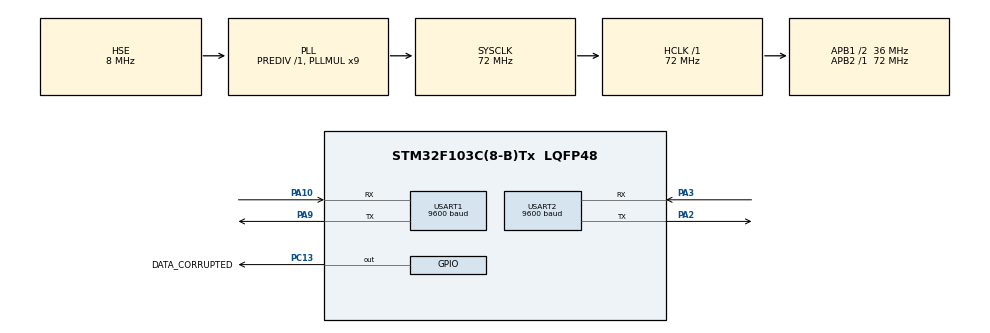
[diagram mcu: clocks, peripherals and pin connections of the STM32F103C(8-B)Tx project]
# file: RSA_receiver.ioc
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Dma.Request0=USART2_RX
Dma.Request1=USART1_RX
Dma.USART1_RX.1.Direction=DMA_PERIPH_TO_MEMORY
Dma.USART1_RX.1.Instance=DMA1_Channel5
Dma.USART1_RX.1.MemDataAlignment=DMA_MDATAALIGN_BYTE
Dma.USART1_RX.1.MemInc=DMA_MINC_ENABLE
Dma.USART1_RX.1.Mode=DMA_NORMAL
Dma.USART1_RX.1.PeriphDataAlignment=DMA_PDATAALIGN_BYTE
Dma.USART1_RX.1.PeriphInc=DMA_PINC_DISABLE
Dma.USART1_RX.1.Priority=DMA_PRIORITY_LOW
Dma.USART2_RX.0.Direction=DMA_PERIPH_TO_MEMORY
Dma.USART2_RX.0.Instance=DMA1_Channel6
Dma.USART2_RX.0.MemDataAlignment=DMA_MDATAALIGN_BYTE
Dma.USART2_RX.0.MemInc=DMA_MINC_ENABLE
Dma.USART2_RX.0.Mode=DMA_NORMAL
Dma.USART2_RX.0.PeriphDataAlignment=DMA_PDATAALIGN_BYTE
Dma.USART2_RX.0.PeriphInc=DMA_PINC_DISABLE
Dma.USART2_RX.0.Priority=DMA_PRIORITY_LOW
Mcu.Family=STM32F1
Mcu.Name=STM32F103C(8-B)Tx
Mcu.Package=LQFP48
NVIC.DMA1_Channel5_IRQn=true\:0\:0\:false\:false\:true\:false\:true\:true
NVIC.DMA1_Channel6_IRQn=true\:0\:0\:false\:true\:true\:1\:false\:true\:true
NVIC.PriorityGroup=NVIC_PRIORITYGROUP_4
NVIC.USART1_IRQn=true\:0\:0\:false\:true\:true\:3\:true\:true\:true
NVIC.USART2_IRQn=true\:0\:0\:false\:true\:true\:2\:true\:true\:true
PA10.Mode=Asynchronous
PA10.Signal=USART1_RX
PA13.Mode=Trace_Asynchronous_SW
PA13.Signal=SYS_JTMS-SWDIO
PA14.Mode=Trace_Asynchronous_SW
PA14.Signal=SYS_JTCK-SWCLK
PA2.Mode=Asynchronous
PA2.Signal=USART2_TX
PA3.GPIO_PuPd=GPIO_PULLUP
PA3.Mode=Asynchronous
PA3.Signal=USART2_RX
PA9.Mode=Asynchronous
PA9.Signal=USART1_TX
PB3.Mode=Trace_Asynchronous_SW
PB3.Signal=SYS_JTDO-TRACESWO
PC13-TAMPER-RTC.GPIO_Label=DATA_CORRUPTED
PC13-TAMPER-RTC.Signal=GPIO_Output
PD0-OSC_IN.Mode=HSE-External-Oscillator
PD0-OSC_IN.Signal=RCC_OSC_IN
PD1-OSC_OUT.Mode=HSE-External-Oscillator
PD1-OSC_OUT.Signal=RCC_OSC_OUT
ProjectManager.HeapSize=0x2000
ProjectManager.StackSize=0x4009
ProjectManager.TargetToolchain=STM32CubeIDE
RCC.AHBFreq_Value=72000000
RCC.APB1CLKDivider=RCC_HCLK_DIV2
RCC.APB1Freq_Value=36000000
RCC.APB1TimFreq_Value=72000000
RCC.APB2Freq_Value=72000000
RCC.APB2TimFreq_Value=72000000
RCC.HCLKFreq_Value=72000000
RCC.PLLMUL=RCC_PLL_MUL9
RCC.PLLSourceVirtual=RCC_PLLSOURCE_HSE
RCC.SYSCLKFreq_VALUE=72000000
RCC.SYSCLKSource=RCC_SYSCLKSOURCE_PLLCLK
RCC.USBFreq_Value=72000000
USART1.BaudRate=9600
USART1.VirtualMode=VM_ASYNC
USART2.BaudRate=9600
USART2.VirtualMode=VM_ASYNC
board=custom

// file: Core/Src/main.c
/* USER CODE BEGIN Header */
/**
  ******************************************************************************
  * @file           : main.c
  * @brief          : Main program body
  ******************************************************************************
  * @attention
  *
  * Copyright (c) 2023 STMicroelectronics.
  * All rights reserved.
  *
  * This software is licensed under terms that can be found in the LICENSE file
  * in the root directory of this software component.
  * If no LICENSE file comes with this software, it is provided AS-IS.
  *
  ******************************************************************************
  */
/* USER CODE END Header */
#include "main.h"

/* USER CODE BEGIN Includes */
#include <stdlib.h>
#include <stdio.h>
#include <string.h>
#include <stdbool.h>
#include "rsa.h"
/* USER CODE END Includes */

/* USER CODE BEGIN PD */
#define GIVE_PUBLIC_KEY_CMD			"Give public key"
#define PUBLIC_KEY_MESSAGE_HEADER	"Public key:"
/* USER CODE END PD */

UART_HandleTypeDef huart1;
UART_HandleTypeDef huart2;
DMA_HandleTypeDef hdma_usart1_rx;
DMA_HandleTypeDef hdma_usart2_rx;

/* USER CODE BEGIN PV */
static rsa_structure rsa_ctx;
static rsa_public_key rsa_second_board_public_key;
static uint8_t receive_buffer[512];
static volatile bool new_encrypted_message;
static volatile uint32_t last_encrypted_message_length;
static volatile bool public_key_obtained;
/* USER CODE END PV */

void SystemClock_Config(void);
static void MX_GPIO_Init(void);
static void MX_DMA_Init(void);
static void MX_USART2_UART_Init(void);
static void MX_USART1_UART_Init(void);
static void MX_NVIC_Init(void);
/* USER CODE BEGIN PFP */
static void decrypt_message(char *buff);
/* USER CODE END PFP */

int main(void)
{

  /* MCU Configuration--------------------------------------------------------*/

  /* Reset of all peripherals, Initializes the Flash interface and the Systick. */
  HAL_Init();

  /* USER CODE BEGIN Init */
  rsa_init(59, 67, &rsa_ctx);
  /* USER CODE END Init */

  /* Configure the system clock */
  SystemClock_Config();

  /* Initialize all configured peripherals */
  MX_GPIO_Init();
  MX_DMA_Init();
  MX_USART2_UART_Init();
  MX_USART1_UART_Init();

  /* Initialize interrupts */
  MX_NVIC_Init();
  /* USER CODE BEGIN 2 */
  HAL_UARTEx_ReceiveToIdle_DMA(&huart2, receive_buffer, sizeof(receive_buffer) / sizeof(receive_buffer[0]));
  HAL_UART_Transmit_IT(&huart1, (uint8_t*)"Reciver connected\n", strlen("Reciver connected\n"));
  /* USER CODE END 2 */

  /* Infinite loop */
  /* USER CODE BEGIN WHILE */
  char message_rx[128];
  while (1)
  {
    /* USER CODE END WHILE */

    /* USER CODE BEGIN 3 */
	  if (new_encrypted_message) {
		  decrypt_message(message_rx);
		  new_encrypted_message = false;
		  HAL_UART_Transmit_IT(&huart1, (uint8_t*)message_rx, strlen(message_rx) + 1);
		  HAL_UARTEx_ReceiveToIdle_DMA(&huart2, receive_buffer, sizeof(receive_buffer) / sizeof(receive_buffer[0]));
	  }
  }
  /* USER CODE END 3 */
}

void SystemClock_Config(void)
{
  RCC_OscInitTypeDef RCC_OscInitStruct = {0};
  RCC_ClkInitTypeDef RCC_ClkInitStruct = {0};

  /** Initializes the RCC Oscillators according to the specified parameters
  * in the RCC_OscInitTypeDef structure.
  */
  RCC_OscInitStruct.OscillatorType = RCC_OSCILLATORTYPE_HSE;
  RCC_OscInitStruct.HSEState = RCC_HSE_ON;
  RCC_OscInitStruct.HSEPredivValue = RCC_HSE_PREDIV_DIV1;
  RCC_OscInitStruct.HSIState = RCC_HSI_ON;
  RCC_OscInitStruct.PLL.PLLState = RCC_PLL_ON;
  RCC_OscInitStruct.PLL.PLLSource = RCC_PLLSOURCE_HSE;
  RCC_OscInitStruct.PLL.PLLMUL = RCC_PLL_MUL9;
  if (HAL_RCC_OscConfig(&RCC_OscInitStruct) != HAL_OK)
  {
    Error_Handler();
  }

  /** Initializes the CPU, AHB and APB buses clocks
  */
  RCC_ClkInitStruct.ClockType = RCC_CLOCKTYPE_HCLK|RCC_CLOCKTYPE_SYSCLK
                              |RCC_CLOCKTYPE_PCLK1|RCC_CLOCKTYPE_PCLK2;
  RCC_ClkInitStruct.SYSCLKSource = RCC_SYSCLKSOURCE_PLLCLK;
  RCC_ClkInitStruct.AHBCLKDivider = RCC_SYSCLK_DIV1;
  RCC_ClkInitStruct.APB1CLKDivider = RCC_HCLK_DIV2;
  RCC_ClkInitStruct.APB2CLKDivider = RCC_HCLK_DIV1;

  if (HAL_RCC_ClockConfig(&RCC_ClkInitStruct, FLASH_LATENCY_2) != HAL_OK)
  {
    Error_Handler();
  }
}

/**
  * @brief NVIC Configuration.
  * @retval None
  */
static void MX_NVIC_Init(void)
{
  /* DMA1_Channel6_IRQn interrupt configuration */
  HAL_NVIC_SetPriority(DMA1_Channel6_IRQn, 0, 0);
  HAL_NVIC_EnableIRQ(DMA1_Channel6_IRQn);
  /* USART2_IRQn interrupt configuration */
  HAL_NVIC_SetPriority(USART2_IRQn, 0, 0);
  HAL_NVIC_EnableIRQ(USART2_IRQn);
  /* USART1_IRQn interrupt configuration */
  HAL_NVIC_SetPriority(USART1_IRQn, 0, 0);
  HAL_NVIC_EnableIRQ(USART1_IRQn);
}

static void MX_USART1_UART_Init(void)
{

  huart1.Instance = USART1;
  huart1.Init.BaudRate = 9600;
  huart1.Init.WordLength = UART_WORDLENGTH_8B;
  huart1.Init.StopBits = UART_STOPBITS_1;
  huart1.Init.Parity = UART_PARITY_NONE;
  huart1.Init.Mode = UART_MODE_TX_RX;
  huart1.Init.HwFlowCtl = UART_HWCONTROL_NONE;
  huart1.Init.OverSampling = UART_OVERSAMPLING_16;
  if (HAL_UART_Init(&huart1) != HAL_OK)
  {
    Error_Handler();
  }

}

static void MX_USART2_UART_Init(void)
{

  huart2.Instance = USART2;
  huart2.Init.BaudRate = 9600;
  huart2.Init.WordLength = UART_WORDLENGTH_8B;
  huart2.Init.StopBits = UART_STOPBITS_1;
  huart2.Init.Parity = UART_PARITY_NONE;
  huart2.Init.Mode = UART_MODE_TX_RX;
  huart2.Init.HwFlowCtl = UART_HWCONTROL_NONE;
  huart2.Init.OverSampling = UART_OVERSAMPLING_16;
  if (HAL_UART_Init(&huart2) != HAL_OK)
  {
    Error_Handler();
  }

}

static void MX_DMA_Init(void)
{

  /* DMA controller clock enable */
  __HAL_RCC_DMA1_CLK_ENABLE();

  /* DMA interrupt init */
  /* DMA1_Channel5_IRQn interrupt configuration */
  HAL_NVIC_SetPriority(DMA1_Channel5_IRQn, 0, 0);
  HAL_NVIC_EnableIRQ(DMA1_Channel5_IRQn);

}

static void MX_GPIO_Init(void)
{
  GPIO_InitTypeDef GPIO_InitStruct = {0};

  /* GPIO Ports Clock Enable */
  __HAL_RCC_GPIOC_CLK_ENABLE();
  __HAL_RCC_GPIOD_CLK_ENABLE();
  __HAL_RCC_GPIOA_CLK_ENABLE();
  __HAL_RCC_GPIOB_CLK_ENABLE();

  /*Configure GPIO pin Output Level */
  HAL_GPIO_WritePin(DATA_CORRUPTED_GPIO_Port, DATA_CORRUPTED_Pin, GPIO_PIN_RESET);

  /*Configure GPIO pin : DATA_CORRUPTED_Pin */
  GPIO_InitStruct.Pin = DATA_CORRUPTED_Pin;
  GPIO_InitStruct.Mode = GPIO_MODE_OUTPUT_PP;
  GPIO_InitStruct.Pull = GPIO_NOPULL;
  GPIO_InitStruct.Speed = GPIO_SPEED_FREQ_LOW;
  HAL_GPIO_Init(DATA_CORRUPTED_GPIO_Port, &GPIO_InitStruct);

}

/* USER CODE BEGIN 4 */
void HAL_UARTEx_RxEventCallback(UART_HandleTypeDef *huart, uint16_t Size)
{
	static char tmp_buffer[128];
    // Check if UART2 trigger the Callback
    if(huart->Instance == USART2)
    {
    	receive_buffer[Size] = '\0';

    	if (new_encrypted_message) {
    		new_encrypted_message = false;
    		last_encrypted_message_length = 0;
    		HAL_GPIO_WritePin(DATA_CORRUPTED_GPIO_Port, DATA_CORRUPTED_Pin, true);
    	}

    	if (!strncmp((char*)receive_buffer, GIVE_PUBLIC_KEY_CMD, sizeof(GIVE_PUBLIC_KEY_CMD) - 1)) {
    		rsa_public_key *public_key = rsa_get_public_key(&rsa_ctx);
    		int len = snprintf(tmp_buffer, sizeof(tmp_buffer), "%s%lu,%lu", PUBLIC_KEY_MESSAGE_HEADER, public_key->e, public_key->n);
    		if (len) {
    			HAL_UART_Transmit_IT(&huart2, (uint8_t*)tmp_buffer, len + 1);
    		}
    		HAL_UARTEx_ReceiveToIdle_DMA(&huart2, receive_buffer, sizeof(receive_buffer) / sizeof(receive_buffer[0]));
    	} else if (!strncmp((char*)receive_buffer, PUBLIC_KEY_MESSAGE_HEADER, sizeof(PUBLIC_KEY_MESSAGE_HEADER) - 1)) {
    		rsa_second_board_public_key.e = atoi((char*)&receive_buffer[sizeof(PUBLIC_KEY_MESSAGE_HEADER) - 1]);
    		char *ptr = strtok((char*)receive_buffer, ",");
    		ptr = strtok(NULL, ",");
			rsa_second_board_public_key.n = atoi(ptr);
			public_key_obtained = true;
			HAL_UARTEx_ReceiveToIdle_DMA(&huart2, receive_buffer, sizeof(receive_buffer) / sizeof(receive_buffer[0]));
    	} else {
    		new_encrypted_message = true;
    		last_encrypted_message_length = Size;
    	}
    }
}

static void decrypt_message(char *buff) {
	for (uint32_t i = 0; i < last_encrypted_message_length; i += 4) {
		buff[i / 4] = (char)rsa_decrypt(*(uint32_t*)&receive_buffer[i], &rsa_ctx);
	}
}
/* USER CODE END 4 */

void Error_Handler(void)
{
  __disable_irq();
  while (1)
  {
  }
}
